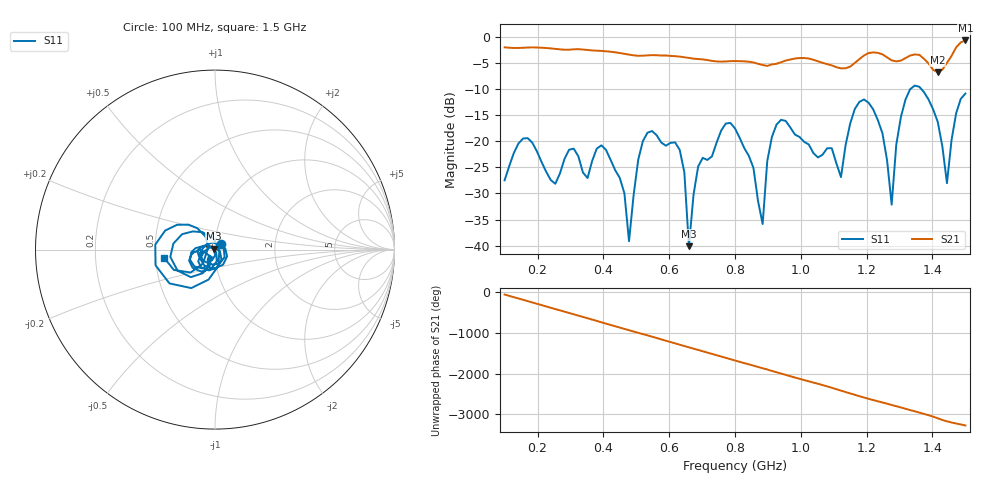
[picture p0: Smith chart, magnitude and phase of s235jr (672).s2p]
! NanoVNA-App
! Date: 2025-09-25 15:09:24
! Start: 100MHz Stop: 1,5GHz Points: 101
! S-Parameter data: F S11 S21 S12 S22
# Hz S RI R 50
!  Frequency  S11_Real  S11_Imag  S21_Real  S21_Imag  S12_Real  S12_Imag  S22_Real  S22_Imag
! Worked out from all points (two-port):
!   101 points, 100 MHz to 1.5 GHz, reference 50 ohm
!   highest |S21| = -0.64 dB at 1.5 GHz (marker M1); lowest = -6.8 dB at 1.416 GHz (marker M2)
!   |S21| within 3 dB of the highest: start of sweep to 612.4 MHz; 1.19 GHz to 1.256 GHz (66.26 MHz wide, 5.42 % of centre) (the widest 2 of 4)
!   lowest |S11| = -40.1 dB at 660 MHz (marker M3), VSWR 1.02, Z = 49.2 + j0.557 ohm
!   |S11| at or under -10 dB: start of sweep to 1.332 GHz; 1.367 GHz to end of sweep
!   S12 and S22 are empty: the file has one direction only
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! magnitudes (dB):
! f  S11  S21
! 100 MHz  -27.5  -2.0
! 156 MHz  -19.5  -2.0
! 338 MHz  -26.0  -2.4
! 408 MHz  -21.6  -2.7
! 478 MHz  -39.2  -3.4
! 520 MHz  -20.0  -3.6
! 576 MHz  -20.2  -3.5
! 632 MHz  -21.6  -3.7
! 660 MHz  -40.1  -4.0
! 688 MHz  -24.8  -4.2
! 800 MHz  -17.5  -4.6
! 884 MHz  -35.9  -5.4
! 926 MHz  -16.8  -5.1
! 1.038 GHz  -22.2  -4.3
! 1.122 GHz  -26.9  -6.0
! 1.192 GHz  -12.0  -3.5
! 1.248 GHz  -18.5  -3.3
! 1.276 GHz  -32.1  -4.5
! 1.332 GHz  -10.0  -3.5
! 1.416 GHz  -16.3  -6.8
! 1.444 GHz  -28.0  -5.0
! 1.5 GHz  -10.8  -0.6
